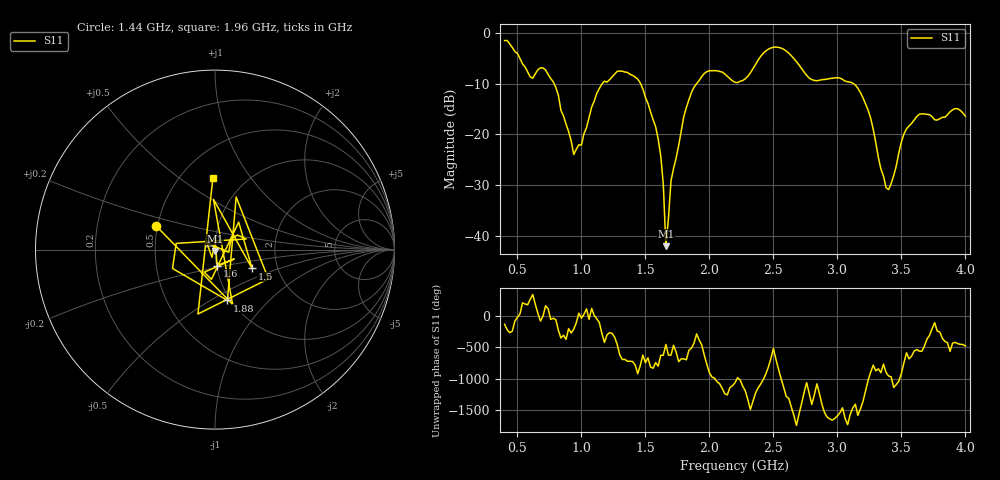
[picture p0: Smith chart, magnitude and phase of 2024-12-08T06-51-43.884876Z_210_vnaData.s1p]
!Created with skrf (http://scikit-rf.org).
# Hz S RI R 50.0
!freq ReS11 ImS11
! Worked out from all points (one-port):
!   181 points, 400 MHz to 4 GHz, reference 50 ohm
!   lowest |S11| = -42.1 dB at 1.66 GHz (marker M1), VSWR 1.02, Z = 49.9 - j0.779 ohm
!   |S11| at or under -10 dB: 786.4 MHz to 1.163 GHz (376.9 MHz wide, 38.7 % of centre); 1.462 GHz to 1.9 GHz (438.3 MHz wide, 26.1 % of centre); 3.125 GHz to end of sweep
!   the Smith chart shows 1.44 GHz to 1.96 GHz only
!   S11 on the Smith chart (normalised r, x): 1.44 GHz: 0.49, +0.15; 1.5 GHz: 1.48, -0.33; 1.6 GHz: 1.01, -0.18; 1.88 GHz: 0.97, -0.60; 1.96 GHz: 0.71, +0.67
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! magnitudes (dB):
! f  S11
! 400 MHz  -1.5
! 600 MHz  -8.7
! 720 MHz  -7.3
! 860 MHz  -16.4
! 940 MHz  -24.0
! 1 GHz  -22.1
! 1.14 GHz  -11.0
! 1.3 GHz  -7.5
! 1.44 GHz  -9.1
! 1.5 GHz  -12.7
! 1.6 GHz  -21.0
! 1.64 GHz  -29.9
! 1.66 GHz  -42.1
! 1.7 GHz  -29.2
! 1.76 GHz  -22.2
! 1.88 GHz  -10.7
! 1.96 GHz  -8.0
! 2.2 GHz  -9.7
! 2.48 GHz  -3.0
! 2.66 GHz  -5.1
! 2.8 GHz  -9.2
! 3.1 GHz  -9.7
! 3.24 GHz  -15.3
! 3.38 GHz  -30.5
! 3.42 GHz  -29.7
! 3.56 GHz  -18.3
! 3.66 GHz  -15.9
! 4 GHz  -16.4
